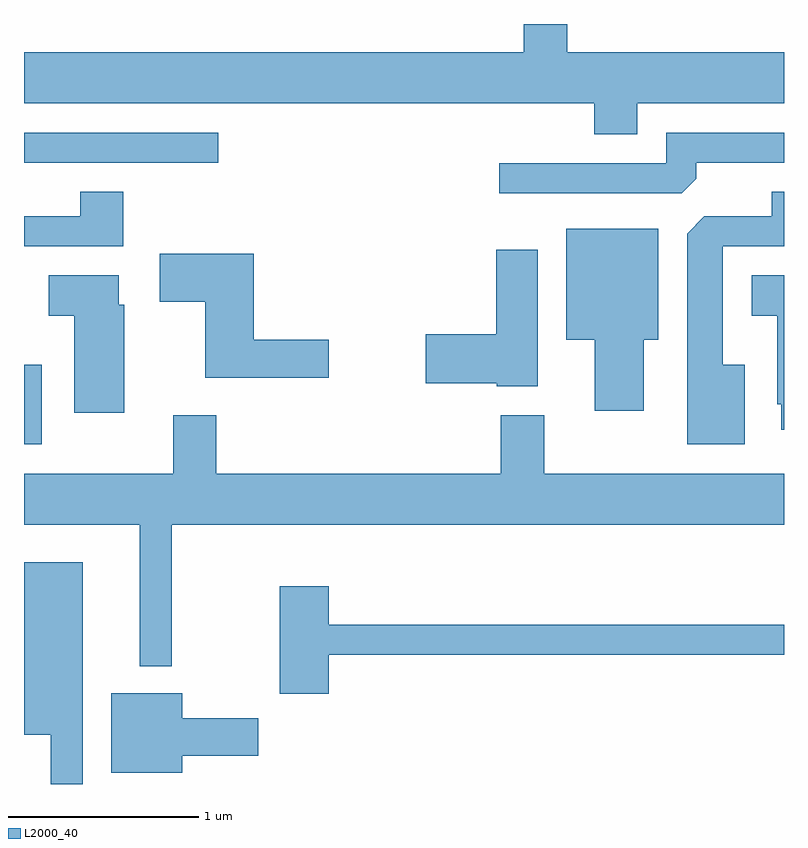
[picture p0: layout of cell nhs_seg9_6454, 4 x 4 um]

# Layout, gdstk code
import gdstk
lib = gdstk.Library(unit=1e-6, precision=1e-09)
def R(c, l, rs):  # rectangles x0, y0, x1, y1
    for r in rs: c.add(gdstk.rectangle(r[:2], r[2:], *l))
def P(c, l, *ps):  # polygons
    for p in ps: c.add(gdstk.Polygon(p, *l))
L2000_40 = (2000, 40)

nhs_seg9_6454 = lib.new_cell('nhs_seg9_6454')
R(nhs_seg9_6454, L2000_40, [(375.611,2012.221,375.704,2012.639), (375.611,2013.701,376.633,2013.859)])
P(nhs_seg9_6454, L2000_40, [(378.839,2014.016),(379.611,2014.016),(379.611,2014.284),(378.469,2014.284),(378.469,2014.432),(378.241,2014.432),(378.241,2014.284),(375.611,2014.284),(375.611,2014.016),(378.611,2014.016),(378.611,2013.851),(378.839,2013.851)],
  [(379.149,2013.617),(379.149,2013.701),(379.611,2013.701),(379.611,2013.859),(378.991,2013.859),(378.991,2013.699),(378.113,2013.699),(378.113,2013.541),(379.074,2013.541)],
  [(376.134,2013.549),(375.906,2013.549),(375.906,2013.419),(375.611,2013.419),(375.611,2013.261),(376.134,2013.261)],
  [(379.404,2012.639),(379.289,2012.639),(379.289,2013.261),(379.611,2013.261),(379.611,2013.549),(379.546,2013.549),(379.546,2013.419),(379.192,2013.419),(379.101,2013.329),(379.101,2012.221),(379.404,2012.221)],
  [(378.874,2012.771),(378.949,2012.771),(378.949,2013.354),(378.466,2013.354),(378.466,2012.771),(378.616,2012.771),(378.616,2012.396),(378.874,2012.396)],
  [(378.314,2013.244),(378.096,2013.244),(378.096,2012.799),(377.726,2012.799),(377.726,2012.541),(378.1,2012.541),(378.1,2012.526),(378.314,2012.526)],
  [(377.214,2012.769),(376.819,2012.769),(376.819,2013.224),(376.326,2013.224),(376.326,2012.971),(376.566,2012.971),(376.566,2012.571),(377.214,2012.571)],
  [(379.611,2013.109),(379.441,2013.109),(379.441,2012.896),(379.576,2012.896),(379.576,2012.431),(379.596,2012.431),(379.596,2012.296),(379.611,2012.296)],
  [(376.139,2012.954),(376.109,2012.954),(376.109,2013.109),(375.741,2013.109),(375.741,2012.896),(375.876,2012.896),(375.876,2012.386),(376.139,2012.386)],
  [(376.389,2011.796),(379.611,2011.796),(379.611,2012.064),(378.349,2012.064),(378.349,2012.374),(378.121,2012.374),(378.121,2012.064),(376.624,2012.064),(376.624,2012.374),(376.396,2012.374),(376.396,2012.064),(375.611,2012.064),(375.611,2011.796),(376.221,2011.796),(376.221,2011.053),(376.389,2011.053)],
  [(375.919,2011.599),(375.611,2011.599),(375.611,2010.691),(375.751,2010.691),(375.751,2010.432),(375.919,2010.432)],
  [(377.214,2011.111),(379.611,2011.111),(379.611,2011.269),(377.214,2011.269),(377.214,2011.474),(376.956,2011.474),(376.956,2010.906),(377.214,2010.906)],
  [(376.444,2010.581),(376.844,2010.581),(376.844,2010.779),(376.444,2010.779),(376.444,2010.909),(376.071,2010.909),(376.071,2010.491),(376.444,2010.491)])

lib.write_gds('nhs_seg9_6454.gds')
